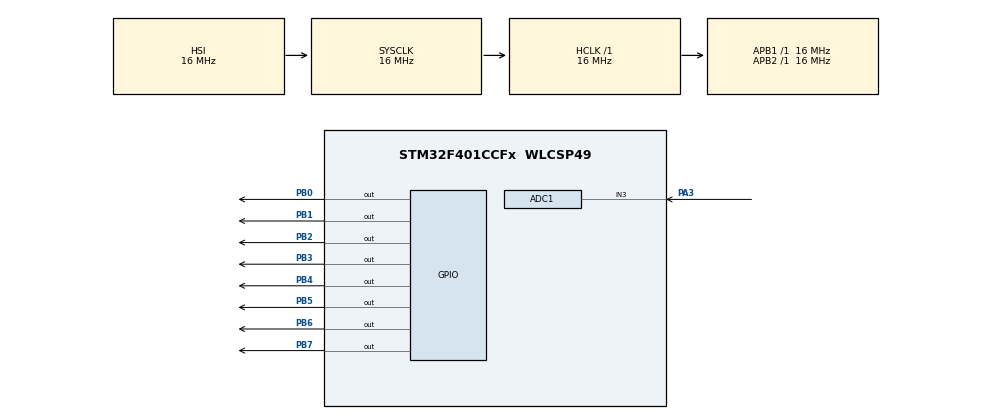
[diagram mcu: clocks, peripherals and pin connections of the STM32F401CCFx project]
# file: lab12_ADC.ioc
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ADC1.Channel-0\#ChannelRegularConversion=ADC_CHANNEL_3
ADC1.NbrOfConversionFlag=1
ADC1.Rank-0\#ChannelRegularConversion=1
ADC1.SamplingTime-0\#ChannelRegularConversion=ADC_SAMPLETIME_3CYCLES
ADC1.master=1
Mcu.Family=STM32F4
Mcu.Name=STM32F401CCFx
Mcu.Package=WLCSP49
NVIC.PriorityGroup=NVIC_PRIORITYGROUP_4
PA3.Signal=ADCx_IN3
PB0.GPIO_PuPd=GPIO_PULLUP
PB0.Signal=GPIO_Output
PB1.GPIO_PuPd=GPIO_PULLUP
PB1.Signal=GPIO_Output
PB2.Signal=GPIO_Output
PB3.Signal=GPIO_Output
PB4.Signal=GPIO_Output
PB5.Signal=GPIO_Output
PB6.Signal=GPIO_Output
PB7.Signal=GPIO_Output
ProjectManager.HeapSize=0x200
ProjectManager.StackSize=0x400
ProjectManager.TargetToolchain=STM32CubeIDE
RCC.AHBFreq_Value=16000000
RCC.APB1Freq_Value=16000000
RCC.APB2Freq_Value=16000000
RCC.CortexFreq_Value=16000000
RCC.HSE_VALUE=25000000
RCC.HSI_VALUE=16000000
RCC.LSE_VALUE=32768
RCC.SYSCLKFreq_VALUE=16000000
RCC.VCOOutputFreq_Value=192000000
SH.ADCx_IN3.0=ADC1_IN3,IN3
board=custom

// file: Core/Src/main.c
/* USER CODE BEGIN Header */
/**
  ******************************************************************************
  * @file           : main.c
  * @brief          : Main program body
  ******************************************************************************
  * @attention
  *
  * <h2><center>&copy; Copyright (c) 2022 STMicroelectronics.
  * All rights reserved.</center></h2>
  *
  * This software component is licensed by ST under BSD 3-Clause license,
  * the "License"; You may not use this file except in compliance with the
  * License. You may obtain a copy of the License at:
  *                        opensource.org/licenses/BSD-3-Clause
  *
  ******************************************************************************
  */
/* USER CODE END Header */

#include "main.h"

/* USER CODE BEGIN Includes */
#include <stdio.h>
#include <string.h>
#include "lcd.h"

/* USER CODE END Includes */

ADC_HandleTypeDef hadc1;

void SystemClock_Config(void);
static void MX_GPIO_Init(void);
static void MX_ADC1_Init(void);

int main(void)
{
  /* USER CODE BEGIN 1 */
	uint32_t raw_adc = 0;
	char msg[100];
	Lcd_PortType ports[] = {GPIOB, GPIOB, GPIOB, GPIOB};
	Lcd_PinType pins[] = {GPIO_PIN_2,GPIO_PIN_3, GPIO_PIN_4, GPIO_PIN_5};
  /* USER CODE END 1 */

  /* MCU Configuration--------------------------------------------------------*/

  /* Reset of all peripherals, Initializes the Flash interface and the Systick. */
  HAL_Init();

  /* Configure the system clock */
  SystemClock_Config();

  /* Initialize all configured peripherals */
  MX_GPIO_Init();
  MX_ADC1_Init();
  /* USER CODE BEGIN 2 */
  Lcd_HandleTypeDef lcd = Lcd_create(ports, pins, GPIOB, GPIO_PIN_7, GPIOB, GPIO_PIN_6, LCD_4_BIT_MODE);
  Lcd_cursor(&lcd, 1, 4);
  Lcd_string(&lcd, "Phuwadech");
  /* USER CODE END 2 */

  /* Infinite loop */
  while (1)
  {

    /* USER CODE BEGIN 3 */
	  HAL_ADC_Start(&hadc1);
	  HAL_ADC_PollForConversion(&hadc1, HAL_MAX_DELAY);
	  raw_adc = HAL_ADC_GetValue(&hadc1);
	  HAL_GPIO_WritePin(GPIOB, GPIO_PIN_1, GPIO_PIN_SET); //red off
	  HAL_GPIO_WritePin(GPIOB, GPIO_PIN_0, GPIO_PIN_SET); //green off
	  if(raw_adc <= 2457)
		  HAL_GPIO_WritePin(GPIOB, GPIO_PIN_1, GPIO_PIN_RESET);//red on
	  else
		  HAL_GPIO_WritePin(GPIOB, GPIO_PIN_0, GPIO_PIN_RESET);//green on
	  sprintf(msg,"Raw ADC : %d %%\r\n",(int)(raw_adc*100/4095));
	  HAL_Delay(100);
	  Lcd_cursor(&lcd, 0, 1);
	  Lcd_string(&lcd, msg);
  }
  /* USER CODE END 3 */
}

void SystemClock_Config(void)
{
  RCC_OscInitTypeDef RCC_OscInitStruct = {0};
  RCC_ClkInitTypeDef RCC_ClkInitStruct = {0};

  /** Configure the main internal regulator output voltage
  */
  __HAL_RCC_PWR_CLK_ENABLE();
  __HAL_PWR_VOLTAGESCALING_CONFIG(PWR_REGULATOR_VOLTAGE_SCALE2);
  /** Initializes the CPU, AHB and APB busses clocks
  */
  RCC_OscInitStruct.OscillatorType = RCC_OSCILLATORTYPE_HSI;
  RCC_OscInitStruct.HSIState = RCC_HSI_ON;
  RCC_OscInitStruct.HSICalibrationValue = RCC_HSICALIBRATION_DEFAULT;
  RCC_OscInitStruct.PLL.PLLState = RCC_PLL_NONE;
  if (HAL_RCC_OscConfig(&RCC_OscInitStruct) != HAL_OK)
  {
    Error_Handler();
  }
  /** Initializes the CPU, AHB and APB busses clocks
  */
  RCC_ClkInitStruct.ClockType = RCC_CLOCKTYPE_HCLK|RCC_CLOCKTYPE_SYSCLK
                              |RCC_CLOCKTYPE_PCLK1|RCC_CLOCKTYPE_PCLK2;
  RCC_ClkInitStruct.SYSCLKSource = RCC_SYSCLKSOURCE_HSI;
  RCC_ClkInitStruct.AHBCLKDivider = RCC_SYSCLK_DIV1;
  RCC_ClkInitStruct.APB1CLKDivider = RCC_HCLK_DIV1;
  RCC_ClkInitStruct.APB2CLKDivider = RCC_HCLK_DIV1;

  if (HAL_RCC_ClockConfig(&RCC_ClkInitStruct, FLASH_LATENCY_0) != HAL_OK)
  {
    Error_Handler();
  }
}

static void MX_ADC1_Init(void)
{

  ADC_ChannelConfTypeDef sConfig = {0};

  /** Configure the global features of the ADC (Clock, Resolution, Data Alignment and number of conversion)
  */
  hadc1.Instance = ADC1;
  hadc1.Init.ClockPrescaler = ADC_CLOCK_SYNC_PCLK_DIV2;
  hadc1.Init.Resolution = ADC_RESOLUTION_12B;
  hadc1.Init.ScanConvMode = DISABLE;
  hadc1.Init.ContinuousConvMode = DISABLE;
  hadc1.Init.DiscontinuousConvMode = DISABLE;
  hadc1.Init.ExternalTrigConvEdge = ADC_EXTERNALTRIGCONVEDGE_NONE;
  hadc1.Init.ExternalTrigConv = ADC_SOFTWARE_START;
  hadc1.Init.DataAlign = ADC_DATAALIGN_RIGHT;
  hadc1.Init.NbrOfConversion = 1;
  hadc1.Init.DMAContinuousRequests = DISABLE;
  hadc1.Init.EOCSelection = ADC_EOC_SINGLE_CONV;
  if (HAL_ADC_Init(&hadc1) != HAL_OK)
  {
    Error_Handler();
  }
  /** Configure for the selected ADC regular channel its corresponding rank in the sequencer and its sample time.
  */
  sConfig.Channel = ADC_CHANNEL_3;
  sConfig.Rank = 1;
  sConfig.SamplingTime = ADC_SAMPLETIME_3CYCLES;
  if (HAL_ADC_ConfigChannel(&hadc1, &sConfig) != HAL_OK)
  {
    Error_Handler();
  }

}

static void MX_GPIO_Init(void)
{
  GPIO_InitTypeDef GPIO_InitStruct = {0};

  /* GPIO Ports Clock Enable */
  __HAL_RCC_GPIOB_CLK_ENABLE();
  __HAL_RCC_GPIOA_CLK_ENABLE();

  /*Configure GPIO pin Output Level */
  HAL_GPIO_WritePin(GPIOB, GPIO_PIN_3|GPIO_PIN_4|GPIO_PIN_5|GPIO_PIN_6
                          |GPIO_PIN_7|GPIO_PIN_2|GPIO_PIN_1|GPIO_PIN_0, GPIO_PIN_RESET);

  /*Configure GPIO pins : PB3 PB4 PB5 PB6
                           PB7 PB2 */
  GPIO_InitStruct.Pin = GPIO_PIN_3|GPIO_PIN_4|GPIO_PIN_5|GPIO_PIN_6
                          |GPIO_PIN_7|GPIO_PIN_2;
  GPIO_InitStruct.Mode = GPIO_MODE_OUTPUT_PP;
  GPIO_InitStruct.Pull = GPIO_NOPULL;
  GPIO_InitStruct.Speed = GPIO_SPEED_FREQ_LOW;
  HAL_GPIO_Init(GPIOB, &GPIO_InitStruct);

  /*Configure GPIO pins : PB1 PB0 */
  GPIO_InitStruct.Pin = GPIO_PIN_1|GPIO_PIN_0;
  GPIO_InitStruct.Mode = GPIO_MODE_OUTPUT_PP;
  GPIO_InitStruct.Pull = GPIO_PULLUP;
  GPIO_InitStruct.Speed = GPIO_SPEED_FREQ_LOW;
  HAL_GPIO_Init(GPIOB, &GPIO_InitStruct);

}

void Error_Handler(void)
{
}

/************************ (C) COPYRIGHT STMicroelectronics *****END OF FILE****/
